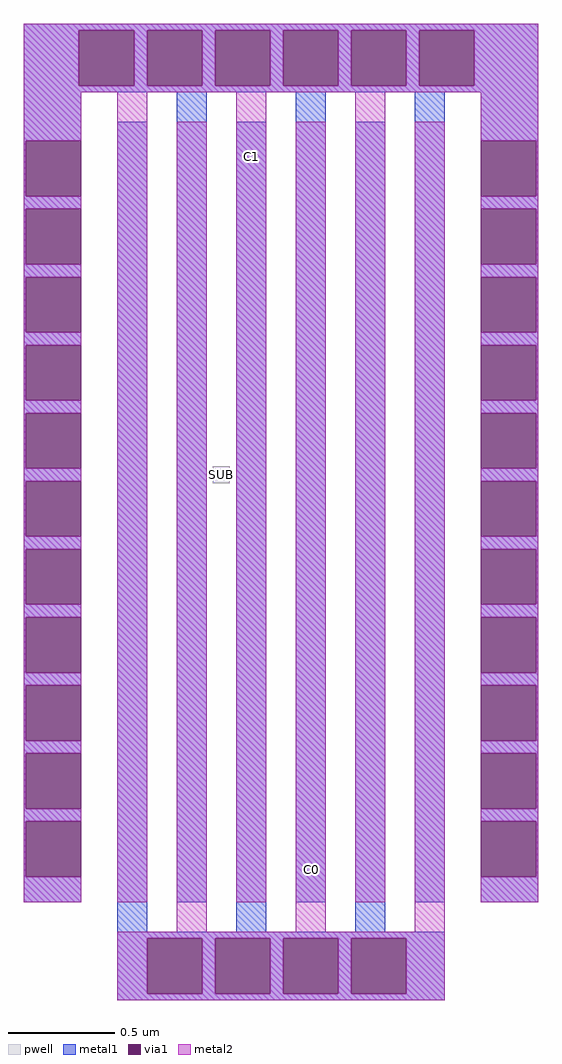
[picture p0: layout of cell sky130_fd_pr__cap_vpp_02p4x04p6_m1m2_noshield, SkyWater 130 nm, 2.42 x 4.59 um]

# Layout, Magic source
magic
tech sky130A
<< pwell >>
rect 45 243 53 251
<< metal1 >>
rect -44 456 198 459
rect -44 430 -18 456
rect 8 430 14 456
rect 40 430 46 456
rect 72 430 78 456
rect 104 430 110 456
rect 136 430 142 456
rect 168 430 198 456
rect -44 427 198 430
rect -44 404 -17 427
rect -44 378 -43 404
rect -44 372 -17 378
rect -44 346 -43 372
rect -44 340 -17 346
rect -44 314 -43 340
rect -44 308 -17 314
rect -44 282 -43 308
rect -44 276 -17 282
rect -44 250 -43 276
rect -44 244 -17 250
rect -44 218 -43 244
rect -44 212 -17 218
rect -44 186 -43 212
rect -44 180 -17 186
rect -44 154 -43 180
rect -44 148 -17 154
rect -44 122 -43 148
rect -44 116 -17 122
rect -44 90 -43 116
rect -44 84 -17 90
rect -44 58 -43 84
rect -44 46 -17 58
rect 0 32 14 413
rect 28 46 42 427
rect 56 32 70 413
rect 84 46 98 427
rect 112 32 126 413
rect 140 46 154 427
rect 171 404 198 427
rect 197 378 198 404
rect 171 372 198 378
rect 197 346 198 372
rect 171 340 198 346
rect 197 314 198 340
rect 171 308 198 314
rect 197 282 198 308
rect 171 276 198 282
rect 197 250 198 276
rect 171 244 198 250
rect 197 218 198 244
rect 171 212 198 218
rect 197 186 198 212
rect 171 180 198 186
rect 197 154 198 180
rect 171 148 198 154
rect 197 122 198 148
rect 171 116 198 122
rect 197 90 198 116
rect 171 84 198 90
rect 197 58 198 84
rect 171 46 198 58
rect 0 29 154 32
rect 0 3 14 29
rect 40 3 46 29
rect 72 3 78 29
rect 104 3 110 29
rect 136 3 154 29
rect 0 0 154 3
<< via1 >>
rect -18 430 8 456
rect 14 430 40 456
rect 46 430 72 456
rect 78 430 104 456
rect 110 430 136 456
rect 142 430 168 456
rect -43 378 -17 404
rect -43 346 -17 372
rect -43 314 -17 340
rect -43 282 -17 308
rect -43 250 -17 276
rect -43 218 -17 244
rect -43 186 -17 212
rect -43 154 -17 180
rect -43 122 -17 148
rect -43 90 -17 116
rect -43 58 -17 84
rect 171 378 197 404
rect 171 346 197 372
rect 171 314 197 340
rect 171 282 197 308
rect 171 250 197 276
rect 171 218 197 244
rect 171 186 197 212
rect 171 154 197 180
rect 171 122 197 148
rect 171 90 197 116
rect 171 58 197 84
rect 14 3 40 29
rect 46 3 72 29
rect 78 3 104 29
rect 110 3 136 29
<< metal2 >>
rect -44 456 198 459
rect -44 430 -18 456
rect 8 430 14 456
rect 40 430 46 456
rect 72 430 78 456
rect 104 430 110 456
rect 136 430 142 456
rect 168 430 198 456
rect -44 427 198 430
rect -44 404 -17 427
rect -44 378 -43 404
rect -44 372 -17 378
rect -44 346 -43 372
rect -44 340 -17 346
rect -44 314 -43 340
rect -44 308 -17 314
rect -44 282 -43 308
rect -44 276 -17 282
rect -44 250 -43 276
rect -44 244 -17 250
rect -44 218 -43 244
rect -44 212 -17 218
rect -44 186 -43 212
rect -44 180 -17 186
rect -44 154 -43 180
rect -44 148 -17 154
rect -44 122 -43 148
rect -44 116 -17 122
rect -44 90 -43 116
rect -44 84 -17 90
rect -44 58 -43 84
rect -44 46 -17 58
rect 0 46 14 427
rect 28 32 42 413
rect 56 46 70 427
rect 84 32 98 413
rect 112 46 126 427
rect 140 32 154 413
rect 171 404 198 427
rect 197 378 198 404
rect 171 372 198 378
rect 197 346 198 372
rect 171 340 198 346
rect 197 314 198 340
rect 171 308 198 314
rect 197 282 198 308
rect 171 276 198 282
rect 197 250 198 276
rect 171 244 198 250
rect 197 218 198 244
rect 171 212 198 218
rect 197 186 198 212
rect 171 180 198 186
rect 197 154 198 180
rect 171 148 198 154
rect 197 122 198 148
rect 171 116 198 122
rect 197 90 198 116
rect 171 84 198 90
rect 197 58 198 84
rect 171 46 198 58
rect 0 29 154 32
rect 0 3 14 29
rect 40 3 46 29
rect 72 3 78 29
rect 104 3 110 29
rect 136 3 154 29
rect 0 0 154 3
<< labels >>
flabel metal2 s 86 55 97 68 0 FreeSans 100 0 0 0 C0
port 1 nsew
flabel metal2 s 58 390 68 403 0 FreeSans 100 0 0 0 C1
port 2 nsew
flabel pwell s 45 243 53 251 0 FreeSans 100 0 0 0 SUB
port 3 nsew
<< properties >>
string device primitive
string GDS_END 4180
string GDS_FILE $PDKPATH/libs.ref/sky130_fd_pr/gds/sky130_fd_pr.gds
string GDS_START 148
<< end >>
